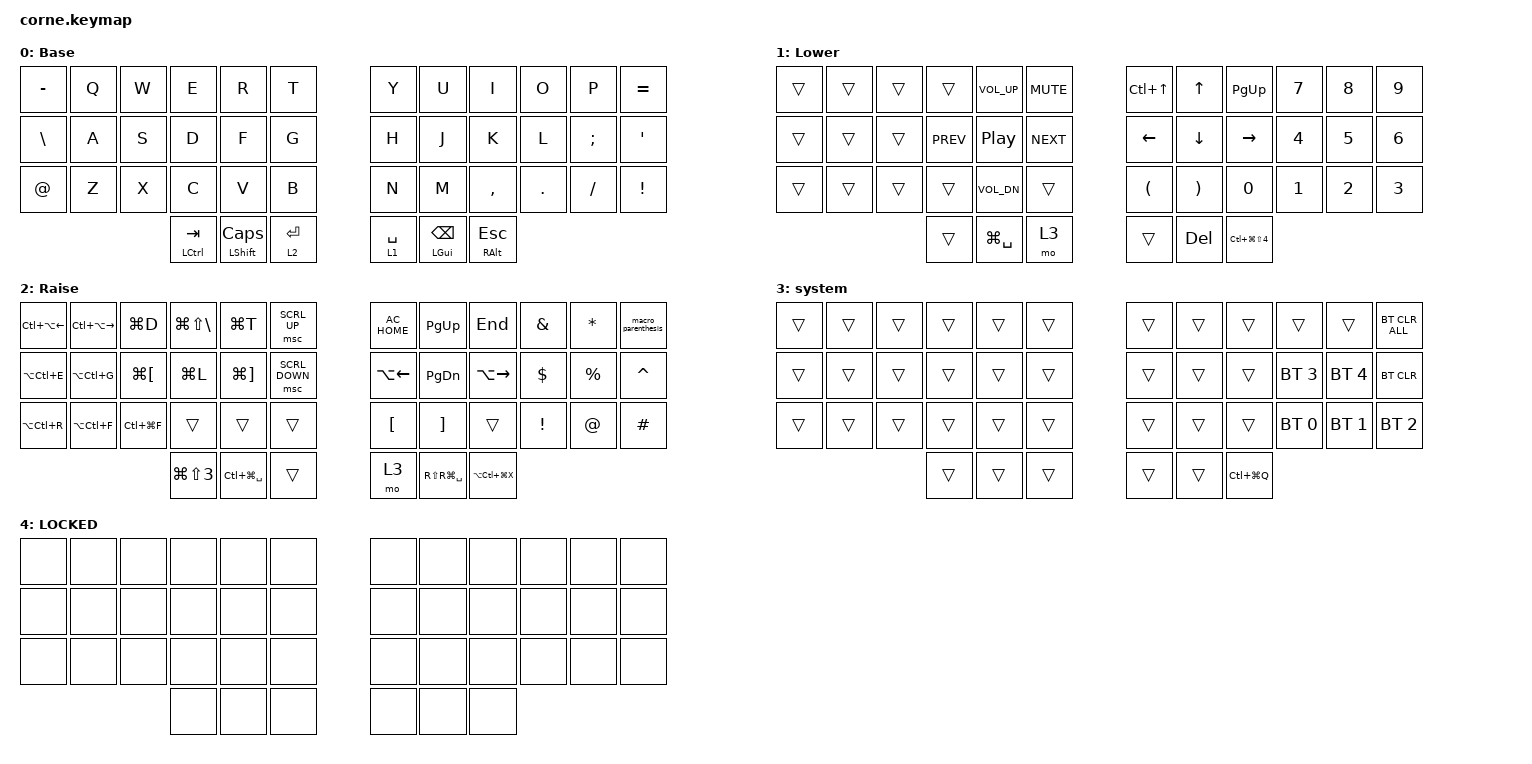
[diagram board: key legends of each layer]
/*
 * Copyright (c) 2020 The ZMK Contributors
 *
 * SPDX-License-Identifier: MIT
 */

#include <behaviors.dtsi>
#include <dt-bindings/zmk/bt.h>
#include <dt-bindings/zmk/keys.h>
#include <dt-bindings/zmk/pointing.h>

/ {
    combos {
        compatible = "zmk,combos";

        combo_lock {
            bindings = <&to 4>;
            key-positions = <35 24>;
        };

        combo_release {
            bindings = <&to 0>;
            key-positions = <11 23 0 12>;
        };
    };

    macros {
        macro_parenthesis: macro_parenthesis {
            compatible = "zmk,behavior-macro";
            #binding-cells = <0>;
            bindings = <&kp LPAR &kp RPAR &kp LEFT>;
            label = "MACRO_PARENTHESIS";
        };

        macro_brackets: macro_brackets {
            compatible = "zmk,behavior-macro";
            #binding-cells = <0>;
            bindings = <&kp LEFT_BRACKET &kp RIGHT_BRACKET &kp LEFT>;
            label = "MACRO_BRACKETS";
        };

        macro_quote: macro_quotes {
            compatible = "zmk,behavior-macro";
            #binding-cells = <0>;
            bindings = <&kp DOUBLE_QUOTES &kp DOUBLE_QUOTES &kp LEFT>;
            label = "MACRO_QUOTES";
        };
    };

    keymap {
        compatible = "zmk,keymap";

        default_layer {
            // -----------------------------------------------------------------------------------------
            // |  TAB |  Q  |  W  |  E  |  R  |  T  |   |  Y  |  U   |  I  |  O  |  P  | BKSP |
            // | CTRL |  A  |  S  |  D  |  F  |  G  |   |  H  |  J   |  K  |  L  |  ;  |  '   |
            // | SHFT |  Z  |  X  |  C  |  V  |  B  |   |  N  |  M   |  ,  |  .  |  /  | ESC  |
            //                    | GUI | LWR | SPC |   | ENT | RSE  | ALT |

            display-name = "Base";
            bindings = <
&kp MINUS      &kp Q  &kp W  &kp E                 &kp R                    &kp T          &kp Y        &kp U                   &kp I                 &kp O       &kp P     &kp EQUAL
&kp BACKSLASH  &kp A  &kp S  &kp D                 &kp F                    &kp G          &kp H        &kp J                   &kp K                 &kp L       &kp SEMI  &kp SQT
&kp AT_SIGN    &kp Z  &kp X  &kp C                 &kp V                    &kp B          &kp N        &kp M                   &kp COMMA             &kp PERIOD  &kp FSLH  &kp EXCLAMATION
                             &mt LEFT_CONTROL TAB  &mt LEFT_SHIFT CAPSLOCK  &lt 2 ENTER    &lt 1 SPACE  &mt LEFT_GUI BACKSPACE  &mt RIGHT_ALT ESCAPE
            >;
        };

        lower_layer {
            // -----------------------------------------------------------------------------------------
            // |  TAB |  1  |  2  |  3  |  4  |  5  |   |  6  |  7  |  8  |  9  |  0  | BKSP |
            // | BTCLR| BT1 | BT2 | BT3 | BT4 | BT5 |   | LFT | DWN |  UP | RGT |     |      |
            // | SHFT |     |     |     |     |     |   |     |     |     |     |     |      |
            //                    | GUI |     | SPC |   | ENT |     | ALT |

            display-name = "Lower";
            bindings = <
&trans  &trans  &trans  &trans      &kp C_VOLUME_UP   &kp C_MUTE    &kp LC(UP_ARROW)      &kp UP_ARROW           &kp PAGE_UP               &kp NUMBER_7  &kp NUMBER_8  &kp NUMBER_9
&trans  &trans  &trans  &kp C_PREV  &kp C_PLAY_PAUSE  &kp C_NEXT    &kp LEFT              &kp DOWN               &kp RIGHT                 &kp NUMBER_4  &kp N5        &kp NUMBER_6
&trans  &trans  &trans  &trans      &kp C_VOL_DN      &trans        &kp LEFT_PARENTHESIS  &kp RIGHT_PARENTHESIS  &kp N0                    &kp NUMBER_1  &kp NUMBER_2  &kp NUMBER_3
                        &trans      &kp LG(SPACE)     &mo 3         &trans                &kp DELETE             &kp LC(LG(LS(NUMBER_4)))
            >;
        };

        Raise {
            bindings = <
&kp LC(LA(LEFT))  &kp LC(LA(RIGHT))  &kp LG(D)             &kp LG(LS(BACKSLASH))  &kp LG(T)              &msc SCRL_UP      &kp C_AC_HOME     &kp PAGE_UP        &kp END            &kp AMPERSAND    &kp ASTERISK  &macro_parenthesis
&kp LA(LC(E))     &kp LA(LC(G))      &kp LG(LEFT_BRACKET)  &kp LG(L)              &kp LG(RIGHT_BRACKET)  &msc SCRL_DOWN    &kp LA(LEFT)      &kp PAGE_DOWN      &kp LA(RIGHT)      &kp DOLLAR       &kp PERCENT   &kp CARET
&kp LA(LC(R))     &kp LA(LC(F))      &kp LC(LG(F))         &trans                 &trans                 &trans            &kp LEFT_BRACKET  &kp RIGHT_BRACKET  &trans             &kp EXCLAMATION  &kp AT_SIGN   &kp HASH
                                                           &kp LG(LS(NUMBER_3))   &kp LC(LG(SPACE))      &trans            &mo 3             &kp RS(RG(SPACE))  &kp LA(LC(LG(X)))
            >;

            label = "Raise";
        };

        system {
            bindings = <
&trans  &trans  &trans  &trans  &trans  &trans    &trans  &trans  &trans         &trans        &trans        &bt BT_CLR_ALL
&trans  &trans  &trans  &trans  &trans  &trans    &trans  &trans  &trans         &bt BT_SEL 3  &bt BT_SEL 4  &bt BT_CLR
&trans  &trans  &trans  &trans  &trans  &trans    &trans  &trans  &trans         &bt BT_SEL 0  &bt BT_SEL 1  &bt BT_SEL 2
                        &trans  &trans  &trans    &trans  &trans  &kp LC(LG(Q))
            >;

            label = "system";
        };

        lock {
            bindings = <
&none  &none  &none  &none  &none  &none    &none  &none  &none  &none  &none  &none
&none  &none  &none  &none  &none  &none    &none  &none  &none  &none  &none  &none
&none  &none  &none  &none  &none  &none    &none  &none  &none  &none  &none  &none
                     &none  &none  &none    &none  &none  &none
            >;

            label = "LOCKED";
        };
    };

    conditional_layers { compatible = "zmk,conditional-layers"; };
};
